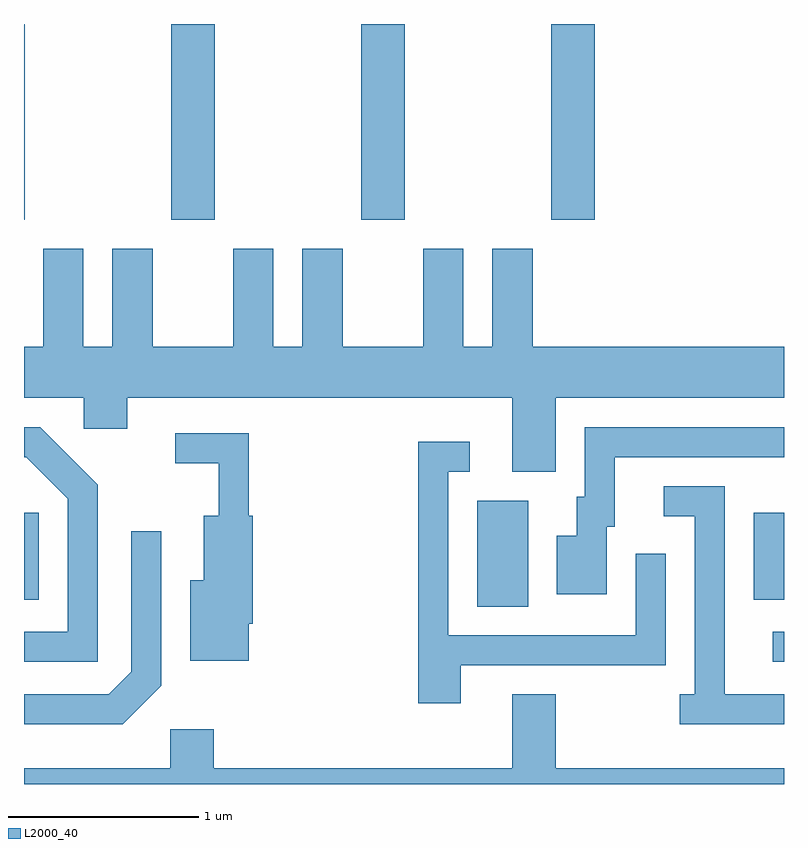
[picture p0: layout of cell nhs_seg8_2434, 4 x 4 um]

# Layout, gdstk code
import gdstk
lib = gdstk.Library(unit=1e-6, precision=1e-09)
def R(c, l, rs):  # rectangles x0, y0, x1, y1
    for r in rs: c.add(gdstk.rectangle(r[:2], r[2:], *l))
def A(c, l, x, y, w, h, nx, ny, dx, dy):  # array of equal rectangles
    R(c, l, [(x+i*dx, y+j*dy, x+i*dx+w, y+j*dy+h) for i in range(nx) for j in range(ny)])
def P(c, l, *ps):  # polygons
    for p in ps: c.add(gdstk.Polygon(p, *l))
L2000_40 = (2000, 40)

nhs_seg8_2434 = lib.new_cell('nhs_seg8_2434')
A(nhs_seg8_2434, L2000_40, 258.386, 1877.311, 0.228, 1.031, 3, 1, 1, 0)
R(nhs_seg8_2434, L2000_40, [(261.553,1874.986,261.611,1875.144), (259.996,1875.276,260.264,1875.834), (257.611,1875.311,257.689,1875.769), (261.451,1875.311,261.611,1875.769), (257.611,1877.311,257.614,1878.342)])
P(nhs_seg8_2434, L2000_40, [(260.409,1876.376),(261.611,1876.376),(261.611,1876.644),(260.289,1876.644),(260.289,1877.159),(260.076,1877.159),(260.076,1876.644),(259.924,1876.644),(259.924,1877.159),(259.711,1877.159),(259.711,1876.644),(259.289,1876.644),(259.289,1877.159),(259.076,1877.159),(259.076,1876.644),(258.924,1876.644),(258.924,1877.159),(258.711,1877.159),(258.711,1876.644),(258.289,1876.644),(258.289,1877.159),(258.076,1877.159),(258.076,1876.644),(257.924,1876.644),(257.924,1877.159),(257.711,1877.159),(257.711,1876.644),(257.611,1876.644),(257.611,1876.376),(257.926,1876.376),(257.926,1876.211),(258.154,1876.211),(258.154,1876.376),(260.181,1876.376),(260.181,1875.986),(260.409,1875.986)],
  [(257.999,1875.917),(257.697,1876.219),(257.611,1876.219),(257.611,1876.061),(257.623,1876.061),(257.841,1875.844),(257.841,1875.144),(257.611,1875.144),(257.611,1874.986),(257.999,1874.986)],
  [(260.679,1875.696),(260.719,1875.696),(260.719,1876.061),(261.611,1876.061),(261.611,1876.219),(260.561,1876.219),(260.561,1875.854),(260.521,1875.854),(260.521,1875.649),(260.416,1875.649),(260.416,1875.341),(260.679,1875.341)],
  [(258.794,1875.186),(258.814,1875.186),(258.814,1875.754),(258.794,1875.754),(258.794,1876.189),(258.408,1876.189),(258.408,1876.031),(258.636,1876.031),(258.636,1875.754),(258.556,1875.754),(258.556,1875.414),(258.486,1875.414),(258.486,1874.991),(258.794,1874.991)],
  [(259.909,1874.966),(260.989,1874.966),(260.989,1875.553),(260.831,1875.553),(260.831,1875.124),(259.844,1875.124),(259.844,1875.986),(259.957,1875.986),(259.957,1876.144),(259.686,1876.144),(259.686,1874.766),(259.909,1874.766)],
  [(261.611,1874.814),(261.299,1874.814),(261.299,1875.909),(260.978,1875.909),(260.978,1875.751),(261.141,1875.751),(261.141,1874.814),(261.063,1874.814),(261.063,1874.656),(261.611,1874.656)],
  [(258.334,1874.859),(258.334,1875.673),(258.176,1875.673),(258.176,1874.932),(258.058,1874.814),(257.611,1874.814),(257.611,1874.656),(258.132,1874.656)],
  [(261.611,1874.424),(260.409,1874.424),(260.409,1874.814),(260.181,1874.814),(260.181,1874.424),(258.609,1874.424),(258.609,1874.629),(258.381,1874.629),(258.381,1874.424),(257.611,1874.424),(257.611,1874.342),(261.611,1874.342)])

lib.write_gds('nhs_seg8_2434.gds')
